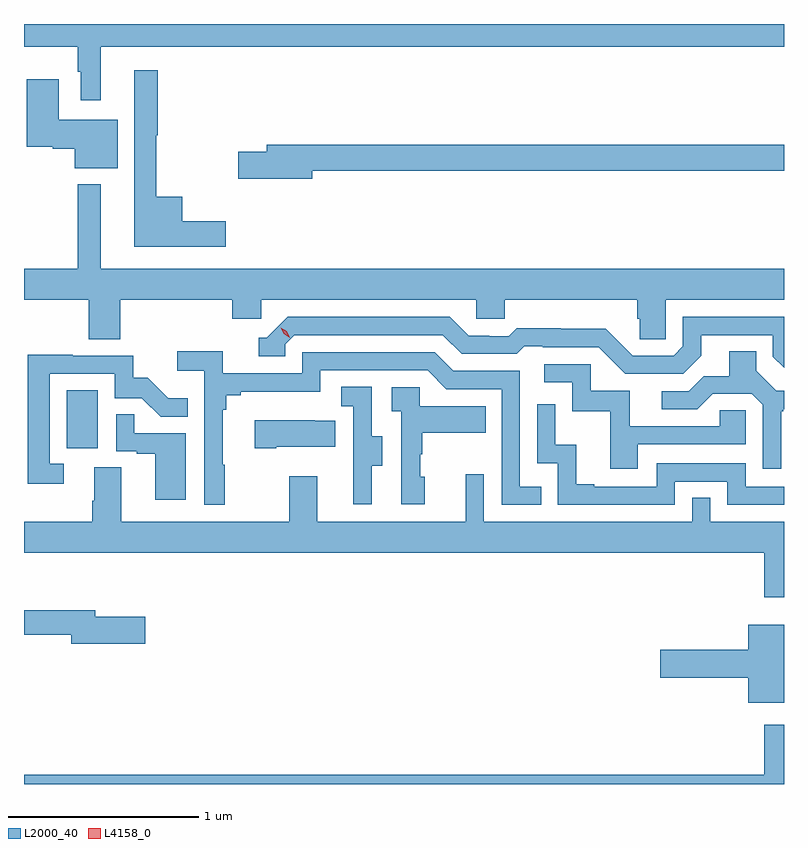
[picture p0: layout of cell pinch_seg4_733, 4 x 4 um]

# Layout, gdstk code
import gdstk
lib = gdstk.Library(unit=1e-6, precision=1e-09)
def R(c, l, rs):  # rectangles x0, y0, x1, y1
    for r in rs: c.add(gdstk.rectangle(r[:2], r[2:], *l))
def P(c, l, *ps):  # polygons
    for p in ps: c.add(gdstk.Polygon(p, *l))
L2000_40 = (2000, 40)
L4158_0 = (4158, 0)

pinch_seg4_733 = lib.new_cell('pinch_seg4_733')
R(pinch_seg4_733, L2000_40, [(876.386,828.006,876.55,828.313)])
P(pinch_seg4_733, L2000_40, [(876.565,830.12),(880.162,830.12),(880.162,830.24),(876.162,830.24),(876.162,830.12),(876.444,830.12),(876.444,829.988),(876.461,829.988),(876.461,829.839),(876.565,829.839)],
  [(877.225,829.202),(876.994,829.202),(876.994,829.33),(876.857,829.33),(876.857,829.655),(876.865,829.655),(876.865,829.996),(876.743,829.996),(876.743,829.067),(877.225,829.067)],
  [(876.655,829.735),(876.346,829.735),(876.346,829.948),(876.176,829.948),(876.176,829.595),(876.312,829.595),(876.312,829.583),(876.428,829.583),(876.428,829.481),(876.655,829.481)],
  [(877.678,829.468),(880.162,829.468),(880.162,829.604),(877.439,829.604),(877.439,829.568),(877.29,829.568),(877.29,829.426),(877.678,829.426)],
  [(876.668,828.788),(877.259,828.788),(877.259,828.69),(877.41,828.69),(877.41,828.788),(878.541,828.788),(878.541,828.69),(878.691,828.69),(878.691,828.788),(879.389,828.788),(879.389,828.69),(879.403,828.69),(879.403,828.58),(879.54,828.58),(879.54,828.788),(880.162,828.788),(880.162,828.952),(876.565,828.952),(876.565,829.396),(876.444,829.396),(876.444,828.952),(876.162,828.952),(876.162,828.788),(876.503,828.788),(876.503,828.58),(876.668,828.58)],
  [(879.727,828.493),(879.727,828.603),(880.104,828.603),(880.104,828.489),(880.162,828.431),(880.162,828.699),(879.63,828.699),(879.63,828.543),(879.582,828.495),(879.366,828.495),(879.224,828.637),(878.988,828.637),(878.988,828.64),(878.755,828.64),(878.713,828.597),(878.61,828.597),(878.61,828.6),(878.503,828.6),(878.404,828.699),(877.551,828.699),(877.44,828.588),(877.397,828.588),(877.397,828.492),(877.536,828.492),(877.536,828.555),(877.584,828.603),(878.367,828.603),(878.466,828.504),(878.755,828.504),(878.794,828.543),(878.893,828.543),(878.893,828.54),(879.186,828.54),(879.327,828.399),(879.633,828.399)],
  [(880.147,828.201),(880.159,828.201),(880.159,828.212),(880.162,828.212),(880.162,828.309),(880.122,828.309),(880.015,828.416),(880.015,828.518),(879.875,828.518),(879.875,828.386),(879.74,828.386),(879.66,828.306),(879.519,828.306),(879.519,828.213),(879.706,828.213),(879.787,828.294),(879.993,828.294),(880.05,828.237),(880.05,827.898),(880.147,827.898)],
  [(877.219,827.921),(877.207,827.921),(877.207,828.209),(877.226,828.209),(877.226,828.286),(877.303,828.286),(877.303,828.305),(877.722,828.305),(877.722,828.417),(878.286,828.417),(878.385,828.318),(878.676,828.318),(878.676,827.709),(878.885,827.709),(878.885,827.805),(878.772,827.805),(878.772,828.414),(878.422,828.414),(878.323,828.513),(877.626,828.513),(877.626,828.402),(877.208,828.402),(877.208,828.518),(876.969,828.518),(876.969,828.416),(877.11,828.416),(877.11,827.709),(877.219,827.709)],
  [(876.37,827.925),(876.297,827.925),(876.297,828.399),(876.639,828.399),(876.639,828.27),(876.783,828.27),(876.881,828.172),(877.025,828.172),(877.025,828.271),(876.921,828.271),(876.814,828.378),(876.738,828.378),(876.738,828.495),(876.419,828.495),(876.419,828.5),(876.181,828.5),(876.181,827.82),(876.37,827.82)],
  [(879.391,828.027),(879.96,828.027),(879.96,828.207),(879.823,828.207),(879.823,828.123),(879.349,828.123),(879.349,828.309),(879.144,828.309),(879.144,828.45),(878.901,828.45),(878.901,828.354),(879.048,828.354),(879.048,828.201),(879.247,828.201),(879.247,827.898),(879.391,827.898)],
  [(877.993,827.914),(878.047,827.914),(878.047,828.069),(877.992,828.069),(877.992,828.332),(877.833,828.332),(877.833,828.229),(877.896,828.229),(877.896,827.925),(877.895,827.925),(877.895,827.712),(877.993,827.712)],
  [(878.272,827.856),(878.247,827.856),(878.247,827.975),(878.257,827.975),(878.257,828.089),(878.591,828.089),(878.591,828.229),(878.244,828.229),(878.244,828.327),(878.097,828.327),(878.097,828.203),(878.148,828.203),(878.148,827.712),(878.272,827.712)],
  [(879.588,827.832),(879.864,827.832),(879.864,827.709),(880.162,827.709),(880.162,827.805),(879.96,827.805),(879.96,827.928),(879.492,827.928),(879.492,827.805),(879.163,827.805),(879.163,827.818),(879.068,827.818),(879.068,828.026),(878.958,828.026),(878.958,828.238),(878.862,828.238),(878.862,827.928),(878.97,827.928),(878.97,827.709),(879.588,827.709)],
  [(877.012,828.087),(876.743,828.087),(876.743,828.185),(876.648,828.185),(876.648,827.991),(876.755,827.991),(876.755,827.979),(876.854,827.979),(876.854,827.736),(877.012,827.736)],
  [(877.489,828.014),(877.799,828.014),(877.799,828.151),(877.691,828.151),(877.691,828.154),(877.377,828.154),(877.377,828.007),(877.489,828.007)],
  [(880.162,827.62),(879.774,827.62),(879.774,827.747),(879.678,827.747),(879.678,827.62),(878.583,827.62),(878.583,827.869),(878.486,827.869),(878.486,827.62),(877.705,827.62),(877.705,827.86),(877.558,827.86),(877.558,827.62),(876.673,827.62),(876.673,827.906),(876.533,827.906),(876.533,827.732),(876.521,827.732),(876.521,827.62),(876.162,827.62),(876.162,827.456),(880.057,827.456),(880.057,827.223),(880.162,827.223)],
  [(876.799,827.121),(876.538,827.121),(876.538,827.155),(876.162,827.155),(876.162,827.026),(876.41,827.026),(876.41,826.979),(876.799,826.979)],
  [(880.162,827.077),(879.974,827.077),(879.974,826.946),(879.51,826.946),(879.51,826.799),(879.974,826.799),(879.974,826.667),(880.162,826.667)],
  [(880.162,826.552),(880.057,826.552),(880.057,826.288),(876.162,826.288),(876.162,826.24),(880.162,826.24)])
P(pinch_seg4_733, L4158_0, [(877.56,828.589),(877.529,828.609),(877.514,828.642),(877.514,828.642),(877.514,828.642),(877.544,828.622),(877.56,828.589),(877.56,828.589)])

lib.write_gds('pinch_seg4_733.gds')
